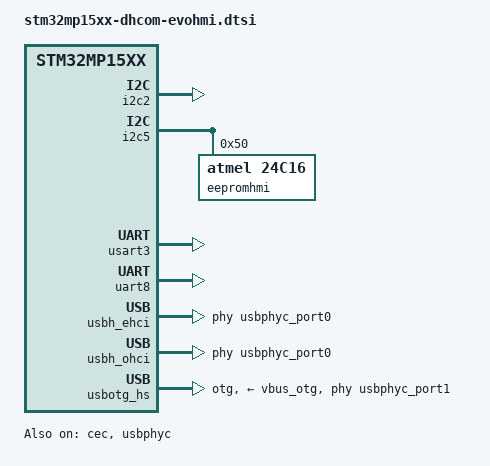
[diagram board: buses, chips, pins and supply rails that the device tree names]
// SPDX-License-Identifier: GPL-2.0+ OR BSD-3-Clause
/*
 * Copyright (C) 2021 Pascal Zimmermann <pzimmermann@dh-electronics.com>
 */

#include <dt-bindings/input/input.h>
#include <dt-bindings/pwm/pwm.h>

/ {
	aliases {
		serial0 = &uart4;
		serial1 = &usart3;
		serial2 = &uart8;
	};

	chosen {
		stdout-path = "serial0:115200n8";
	};

};

&cec {
	pinctrl-names = "default";
	pinctrl-0 = <&cec_pins_a>;
	status = "okay";
};

&i2c2 {	/* DHCOM I2C 2 (/dev/i2c-0) */
	pinctrl-names = "default";
	pinctrl-0 = <&i2c2_pins_a>;
	i2c-scl-rising-time-ns = <185>;
	i2c-scl-falling-time-ns = <20>;
	status = "okay";
	/* spare dmas for other usage */
	/delete-property/dmas;
	/delete-property/dma-names;
	status = "okay";
};

&i2c5 {	/* DHCOM I2C 1 (/dev/i2c-1) */
	pinctrl-names = "default";
	pinctrl-0 = <&i2c5_pins_a>;
	i2c-scl-rising-time-ns = <185>;
	i2c-scl-falling-time-ns = <20>;
	status = "okay";
	/* spare dmas for other usage */
	/delete-property/dmas;
	/delete-property/dma-names;
	
	eepromhmi@50 {
		compatible = "atmel,24c16";
		reg = <0x50>;
		pagesize = <16>;
	};
};


&usart3 {
	pinctrl-names = "default";
	pinctrl-0 = <&usart3_pins_a>;
	status = "okay";
};

&uart8 {
	pinctrl-names = "default";
	pinctrl-0 = <&uart8_pins_a &uart8_rtscts_pins_a>;
	uart-has-rtscts;
	status = "okay";
};

&usbh_ehci {
	phys = <&usbphyc_port0>;
	status = "okay";
};

&usbh_ohci {
	phys = <&usbphyc_port0>;
	status = "okay";
};

&usbotg_hs {
	dr_mode = "otg";
	pinctrl-0 = <&usbotg_hs_pins_a>;
	pinctrl-names = "default";
	phy-names = "usb2-phy";
	phys = <&usbphyc_port1 0>;
	vbus-supply = <&vbus_otg>;
	status = "okay";
};

&usbphyc {
	status = "okay";
};

&usbphyc_port0 {
	phy-supply = <&vdd_usb>;
	vdda1v1-supply = <&reg11>;
	vdda1v8-supply = <&reg18>;
};

&usbphyc_port1 {
	phy-supply = <&vdd_usb>;
	vdda1v1-supply = <&reg11>;
	vdda1v8-supply = <&reg18>;
};
